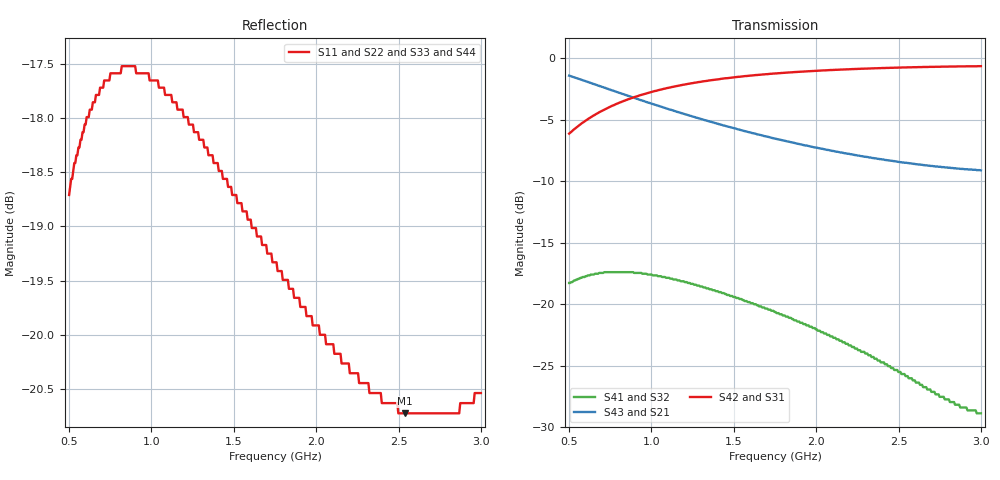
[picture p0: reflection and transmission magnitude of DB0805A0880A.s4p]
!	AVX THIN FILM OPERATION
!	0805 SIZE 3dB 90deg COUPLER P/N DB0805A0880AWTR
!	Created March 23 2003
!	Network Analyzer HP8720E S.07.64: Feb23, 2000 Serial No.US39172382
#	MHZ	S	MA	R	50
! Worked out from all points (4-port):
!   400 points, 500 MHz to 3 GHz, reference 50 ohm
!   strongest paths, dB at 500 MHz, 1.127 GHz, 1.753 GHz, 2.38 GHz, 3 GHz:
!     S42: -6.1, -2.3, -1.2, -0.8, -0.6
!     S31: -6.1, -2.3, -1.2, -0.8, -0.6
!     S43: -1.4, -4.2, -6.5, -8.2, -9.1
!     S21: -1.4, -4.2, -6.5, -8.2, -9.1
!     S41: -18.3, -17.9, -20.6, -24.6, -28.9
!     S32: -18.3, -17.9, -20.6, -24.6, -28.9
!   lowest |S11| = -20.7 dB at 2.536 GHz (marker M1), VSWR 1.20, Z = 46 + j7.93 ohm
!   |S11| at or under -10 dB: start of sweep to end of sweep
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500  0.116 -152.6  0.85 -30.9  0.494 57.1  0.122 29.7
     0.85 -30.9  0.116 -152.6  0.122 29.7  0.494 57.1
     0.494 57.1  0.122 29.7  0.116 -152.6  0.85 -30.9
     0.122 29.7  0.494 57.1  0.85 -30.9  0.116 -152.6
662.907  0.129 -167.9  0.781 -38.1  0.593 49.7  0.133 15.6
         0.781 -38.1  0.129 -167.9  0.133 15.6  0.593 49.7
         0.593 49.7  0.133 15.6  0.129 -167.9  0.781 -38.1
         0.133 15.6  0.593 49.7  0.781 -38.1  0.129 -167.9
888.471  0.133 174.9  0.693 -46.2  0.692 41.6  0.135 0.3
         0.693 -46.2  0.133 174.9  0.135 0.3  0.692 41.6
         0.692 41.6  0.135 0.3  0.133 174.9  0.693 -46.2
         0.135 0.3  0.692 41.6  0.693 -46.2  0.133 174.9
1345.865  0.121 150.1  0.555 -58.0  0.812 30.2  0.116 -20.2
          0.555 -58.0  0.121 150.1  0.116 -20.2  0.812 30.2
          0.812 30.2  0.116 -20.2  0.121 150.1  0.555 -58.0
          0.116 -20.2  0.812 30.2  0.555 -58.0  0.121 150.1
1865.915  0.104 130.9  0.453 -67.0  0.879 21.7  0.086 -31.8
          0.453 -67.0  0.104 130.9  0.086 -31.8  0.879 21.7
          0.879 21.7  0.086 -31.8  0.104 130.9  0.453 -67.0
          0.086 -31.8  0.879 21.7  0.453 -67.0  0.104 130.9
2536.341  0.092 111.9  0.376 -75.2  0.918 14.1  0.052 -29.0
          0.376 -75.2  0.092 111.9  0.052 -29.0  0.918 14.1
          0.918 14.1  0.052 -29.0  0.092 111.9  0.376 -75.2
          0.052 -29.0  0.918 14.1  0.376 -75.2  0.092 111.9
3000  0.094 99.9  0.35 -80.1  0.929 9.8  0.036 -0.0
      0.35 -80.1  0.094 99.9  0.036 -0.0  0.929 9.8
      0.929 9.8  0.036 -0.0  0.094 99.9  0.35 -80.1
      0.036 -0.0  0.929 9.8  0.35 -80.1  0.094 99.9
